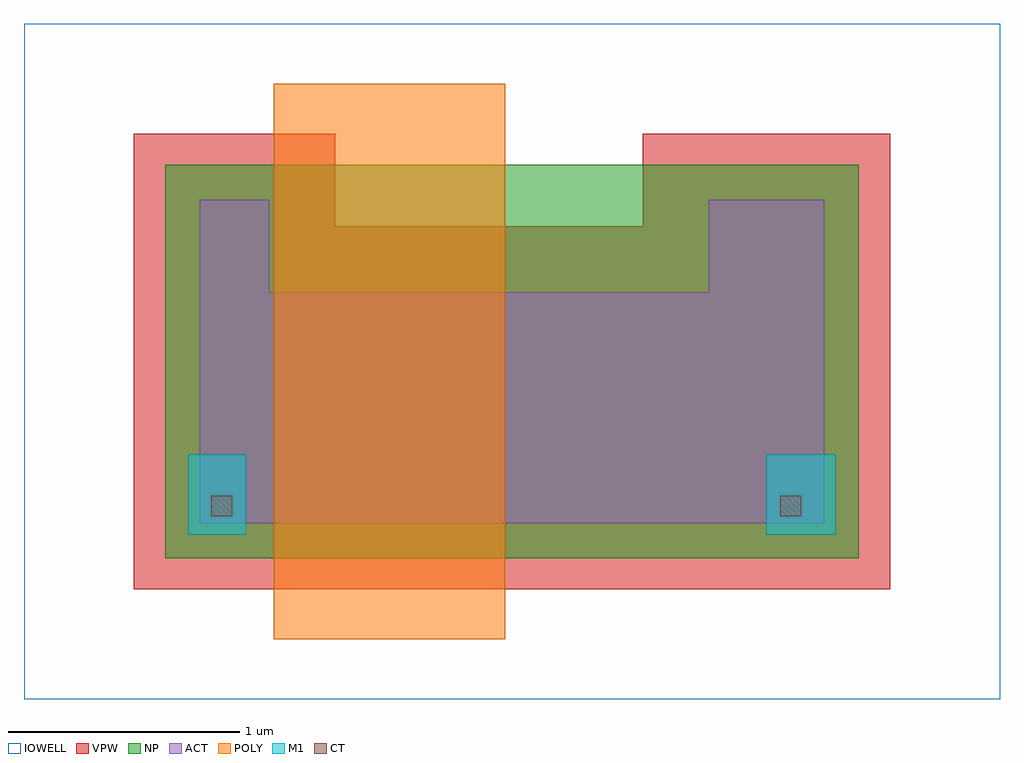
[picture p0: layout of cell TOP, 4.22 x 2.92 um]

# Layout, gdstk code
import gdstk
lib = gdstk.Library(unit=1e-6, precision=1e-09)
def R(c, l, rs):  # rectangles x0, y0, x1, y1
    for r in rs: c.add(gdstk.rectangle(r[:2], r[2:], *l))
def P(c, l, *ps):  # polygons
    for p in ps: c.add(gdstk.Polygon(p, *l))
ACT = (2, 1)
IOWELL = (28, 1)
POLY = (41, 1)
NP = (52, 1)
CT = (72, 1)
M1 = (81, 1)
VPW = (261, 12)

top = lib.new_cell('TOP')
P(top, ACT, [(0,0),(0,1.4),(0.3,1.4),(0.3,1),(2.2,1),(2.2,1.4),(2.7,1.4),(2.7,0)])
R(top, IOWELL, [(-0.76,-0.76,3.46,2.16)])
R(top, POLY, [(0.32,-0.5,1.32,1.9)])
R(top, NP, [(-0.15,-0.15,2.85,1.55)])
R(top, CT, [(0.05,0.03,0.14,0.12), (2.51,0.03,2.6,0.12)])
R(top, M1, [(-0.05,-0.05,0.2,0.3), (2.45,-0.05,2.75,0.3)])
P(top, VPW, [(-0.285,-0.285),(-0.285,1.685),(0.585,1.685),(0.585,1.285),(1.915,1.285),(1.915,1.685),(2.985,1.685),(2.985,-0.285)])

lib.write_gds('TOP.gds')
